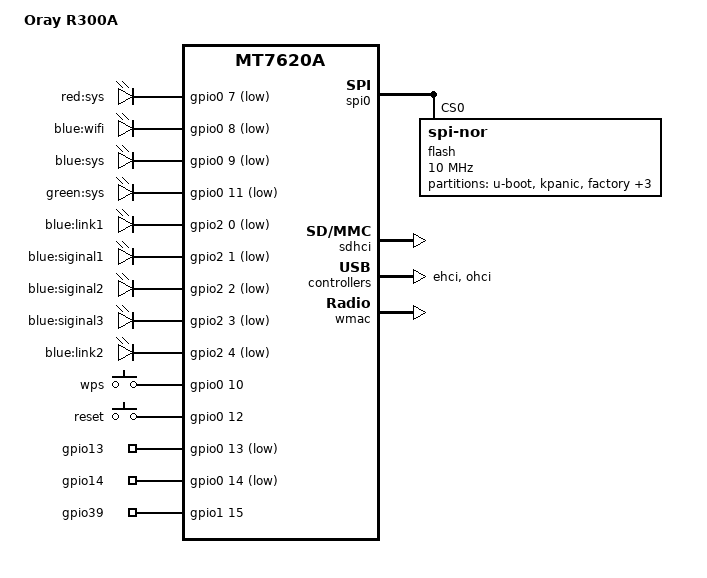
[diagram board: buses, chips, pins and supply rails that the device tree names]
#include "mt7620a.dtsi"

#include <dt-bindings/gpio/gpio.h>
#include <dt-bindings/input/input.h>

/ {
	compatible = "oray,r300a", "ralink,mt7620a-soc";
	model = "Oray R300A";

	aliases {
		label-mac-device = &wmac;
	};

	chosen {
		bootargs = "console=ttyS0,115200";
	};

	leds {
		compatible = "gpio-leds";

		red_sys {
			label = "red:sys";
			default-state = "on";
			gpios = <&gpio0 7 GPIO_ACTIVE_LOW>;
		};

		blue_wifi {
			label = "blue:wifi";
			gpios = <&gpio0 8 GPIO_ACTIVE_LOW>;
		};

		blue_sys {
			label = "blue:sys";
			gpios = <&gpio0 9 GPIO_ACTIVE_LOW>;
		};

		green_sys {
			label = "green:sys";
			gpios = <&gpio0 11 GPIO_ACTIVE_LOW>;
		};
		
		blue_link1 {
			label = "blue:link1";
			gpios = <&gpio2 0 GPIO_ACTIVE_LOW>;
		};

		blue_siginal1 {
			label = "blue:siginal1";
			gpios = <&gpio2 1 GPIO_ACTIVE_LOW>;
		};

		blue_siginal2 {
			label = "blue:siginal2";
			gpios = <&gpio2 2 GPIO_ACTIVE_LOW>;
		};

		blue_siginal3 {
			label = "blue:siginal3";
			gpios = <&gpio2 3 GPIO_ACTIVE_LOW>;
		};

		blue_link2 {
			label = "blue:link2";
			gpios = <&gpio2 4 GPIO_ACTIVE_LOW>;
		};
	};

	keys {
		compatible = "gpio-keys";

		wps {
			label = "wps";
			gpios = <&gpio0 10 GPIO_ACTIVE_HIGH>;
			linux,code = <KEY_WPS_BUTTON>;
		};

		reset {
			label = "reset";
			gpios = <&gpio0 12 GPIO_ACTIVE_HIGH>;
			linux,code = <KEY_RESTART>;
		};
	};

	gpio_export {
		compatible = "gpio-export";
		#size-cells = <0>;
		
		cpe_pwr {
			gpio-export,name = "gpio13";
			gpio-export,output = <1>;
			gpios = <&gpio0 13 GPIO_ACTIVE_LOW>;
		};

		usb_pwr {
			gpio-export,name = "gpio14";
			gpio-export,output = <1>;
			gpios = <&gpio0 14 GPIO_ACTIVE_LOW>;
		};

		sim_sel {
			gpio-export,name = "gpio39";
			gpio-export,output = <1>;
			gpios = <&gpio1 15 GPIO_ACTIVE_HIGH>;
		};
	};
};

&gpio1 {
	status = "okay";
};

&gpio2 {
	status = "okay";
};

&spi0 {
	status = "okay";

	flash@0 {
		compatible = "jedec,spi-nor";
		reg = <0>;
		spi-max-frequency = <10000000>;

		partitions {
			compatible = "fixed-partitions";
			#address-cells = <1>;
			#size-cells = <1>;

			partition@0 {
				label = "u-boot";
				reg = <0x0 0x30000>;
			};

			partition@30000 {
				label = "kpanic";
				reg = <0x30000 0x10000>;
				read-only;
			};

			factory: partition@40000 {
				label = "factory";
				reg = <0x40000 0x10000>;
				read-only;
			};

			partition@50000 {
				compatible = "denx,uimage";
				label = "firmware";
				reg = <0x50000 0xf90000>;
			};

			bdinfo: partition@fe0000 {
				label = "bdinfo";
				reg = <0xfe0000 0x10000>;
				read-only;
			};

			partition@ff0000 {
				label = "reserve";
				reg = <0xff0000 0x10000>;
				read-only;
			};
		};
	};
};

&sdhci {
	status = "okay";
};

&ehci {
	status = "okay";
};

&ohci {
	status = "okay";
};

&ethernet {
	mtd-mac-address = <&bdinfo 0x9>;
	mediatek,portmap = "wllll";
};

&wmac {
	ralink,mtd-eeprom = <&factory 0x0>;
};

&state_default {
	gpio {
		groups = "ephy", "uartf", "spi refclk";
		function = "gpio";
	};
};
